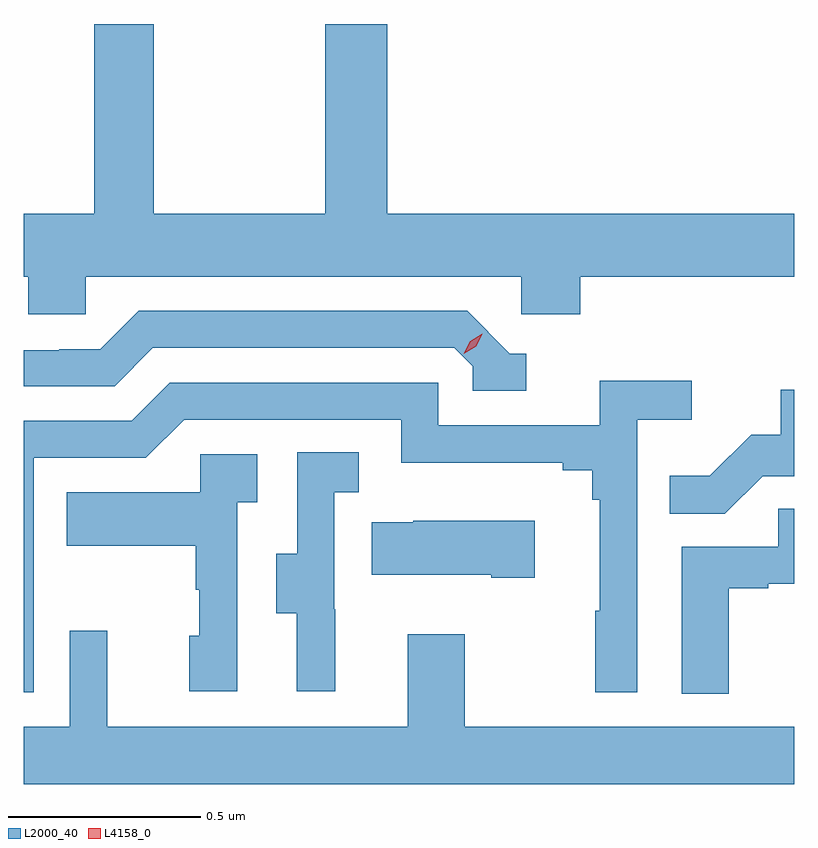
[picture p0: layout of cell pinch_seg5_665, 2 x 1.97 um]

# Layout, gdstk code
import gdstk
lib = gdstk.Library(unit=1e-6, precision=1e-09)
def P(c, l, *ps):  # polygons
    for p in ps: c.add(gdstk.Polygon(p, *l))
L2000_40 = (2000, 40)
L4158_0 = (4158, 0)

pinch_seg5_665 = lib.new_cell('pinch_seg5_665')
P(pinch_seg5_665, L2000_40, [(1072.683,834.116),(1073.814,834.116),(1073.814,834.018),(1073.966,834.018),(1073.966,834.116),(1074.522,834.116),(1074.522,834.28),(1073.465,834.28),(1073.465,834.772),(1073.305,834.772),(1073.305,834.28),(1072.86,834.28),(1072.86,834.772),(1072.705,834.772),(1072.705,834.28),(1072.522,834.28),(1072.522,834.116),(1072.533,834.116),(1072.533,834.018),(1072.683,834.018)],
  [(1073.827,833.916),(1073.784,833.916),(1073.673,834.027),(1072.82,834.027),(1072.721,833.928),(1072.614,833.928),(1072.614,833.925),(1072.522,833.925),(1072.522,833.832),(1072.758,833.832),(1072.857,833.931),(1073.64,833.931),(1073.688,833.883),(1073.688,833.82),(1073.827,833.82)],
  [(1072.548,833.646),(1072.839,833.646),(1072.938,833.745),(1073.502,833.745),(1073.502,833.633),(1073.921,833.633),(1073.921,833.614),(1073.998,833.614),(1073.998,833.537),(1074.017,833.537),(1074.017,833.249),(1074.006,833.249),(1074.006,833.037),(1074.114,833.037),(1074.114,833.744),(1074.256,833.744),(1074.256,833.846),(1074.017,833.846),(1074.017,833.73),(1073.598,833.73),(1073.598,833.841),(1072.901,833.841),(1072.802,833.742),(1072.522,833.742),(1072.522,833.037),(1072.548,833.037)],
  [(1074.44,833.598),(1074.522,833.598),(1074.522,833.823),(1074.487,833.823),(1074.487,833.706),(1074.41,833.706),(1074.303,833.599),(1074.199,833.599),(1074.199,833.5),(1074.342,833.5)],
  [(1073.33,833.253),(1073.328,833.253),(1073.328,833.557),(1073.392,833.557),(1073.392,833.66),(1073.232,833.66),(1073.232,833.397),(1073.177,833.397),(1073.177,833.242),(1073.231,833.242),(1073.231,833.04),(1073.33,833.04)],
  [(1073.076,833.531),(1073.128,833.531),(1073.128,833.655),(1072.98,833.655),(1072.98,833.557),(1072.633,833.557),(1072.633,833.417),(1072.968,833.417),(1072.968,833.303),(1072.978,833.303),(1072.978,833.184),(1072.952,833.184),(1072.952,833.04),(1073.076,833.04)],
  [(1074.352,833.307),(1074.455,833.307),(1074.455,833.319),(1074.522,833.319),(1074.522,833.513),(1074.481,833.513),(1074.481,833.415),(1074.23,833.415),(1074.23,833.033),(1074.352,833.033)],
  [(1073.848,833.482),(1073.533,833.482),(1073.533,833.479),(1073.425,833.479),(1073.425,833.342),(1073.735,833.342),(1073.735,833.335),(1073.848,833.335)],
  [(1074.522,832.948),(1073.667,832.948),(1073.667,833.188),(1073.519,833.188),(1073.519,832.948),(1072.739,832.948),(1072.739,833.197),(1072.641,833.197),(1072.641,832.948),(1072.522,832.948),(1072.522,832.799),(1074.522,832.799)])
P(pinch_seg5_665, L4158_0, [(1073.664,833.916),(1073.664,833.916),(1073.681,833.949),(1073.712,833.968),(1073.712,833.968),(1073.712,833.968),(1073.696,833.935),(1073.664,833.916)])

lib.write_gds('pinch_seg5_665.gds')
